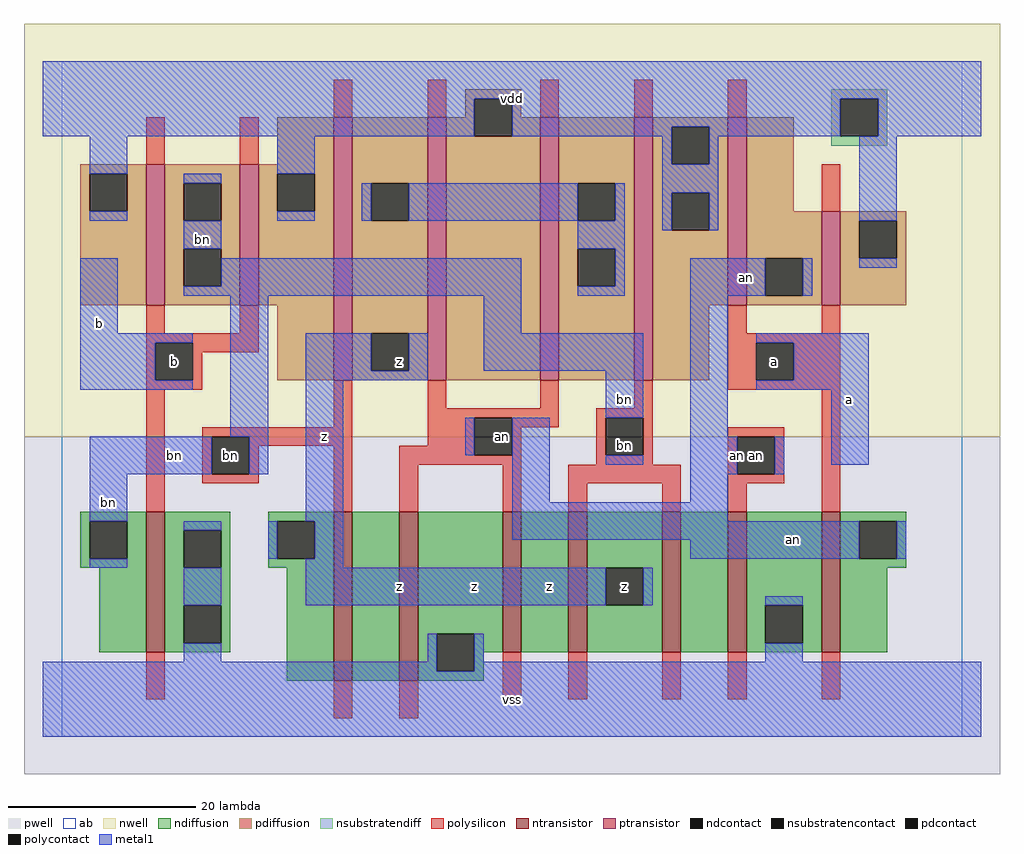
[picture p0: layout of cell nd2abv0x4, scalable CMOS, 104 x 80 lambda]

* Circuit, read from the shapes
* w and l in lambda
.subckt nd2abv0x4 a an b bn vdd vss z
M1 vss b bn VSUBS nfet w=15 l=2
M2 n1 bn z VSUBS nfet w=18 l=2
M3 vss an n1 VSUBS nfet w=18 l=2
M4 n2 an vss VSUBS nfet w=15 l=2
M5 z bn n2 VSUBS nfet w=15 l=2
M6 n3 bn z VSUBS nfet w=15 l=2
M7 vss an n3 VSUBS nfet w=15 l=2
M8 an a vss VSUBS nfet w=15 l=2
M9 bn b vdd vdd pfet w=15 l=2 m=2
M10 z bn vdd vdd pfet w=28 l=2 m=2
M11 vdd an z vdd pfet w=28 l=2 m=2
M12 an a vdd vdd pfet w=20 l=2
M13 vdd a an vdd pfet w=10 l=2
.ends

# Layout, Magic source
magic
tech scmos
<< ab >>
rect 0 0 96 72
<< pwell >>
rect -4 -4 100 32
<< nwell >>
rect -4 32 100 76
<< polysilicon >>
rect 29 66 31 70
rect 39 66 41 70
rect 9 61 11 66
rect 19 61 21 66
rect 9 43 11 46
rect 19 43 21 46
rect 9 42 21 43
rect 9 38 10 42
rect 14 41 21 42
rect 14 38 15 41
rect 51 66 53 70
rect 61 66 63 70
rect 71 66 73 70
rect 81 56 83 61
rect 71 43 73 46
rect 81 43 83 46
rect 71 42 83 43
rect 71 38 74 42
rect 78 38 83 42
rect 9 37 15 38
rect 9 24 11 37
rect 29 33 31 38
rect 15 32 31 33
rect 15 28 16 32
rect 20 31 31 32
rect 39 35 41 38
rect 51 35 53 38
rect 61 35 63 38
rect 71 37 83 38
rect 39 34 53 35
rect 39 31 44 34
rect 20 28 21 31
rect 15 27 21 28
rect 29 24 31 31
rect 36 30 44 31
rect 48 33 53 34
rect 57 34 63 35
rect 48 30 49 33
rect 36 29 49 30
rect 57 30 58 34
rect 62 30 63 34
rect 57 29 63 30
rect 71 32 77 33
rect 36 24 38 29
rect 47 24 49 29
rect 54 27 66 29
rect 54 24 56 27
rect 64 24 66 27
rect 71 28 72 32
rect 76 28 77 32
rect 71 27 77 28
rect 71 24 73 27
rect 81 24 83 37
rect 9 4 11 9
rect 29 2 31 6
rect 36 2 38 6
rect 47 4 49 9
rect 54 4 56 9
rect 64 4 66 9
rect 71 4 73 9
rect 81 4 83 9
<< ndiffusion >>
rect 2 23 9 24
rect 2 19 3 23
rect 7 19 9 23
rect 2 18 9 19
rect 4 9 9 18
rect 11 22 18 24
rect 11 18 13 22
rect 17 18 18 22
rect 22 23 29 24
rect 22 19 23 23
rect 27 19 29 23
rect 22 18 29 19
rect 11 14 18 18
rect 11 10 13 14
rect 17 10 18 14
rect 11 9 18 10
rect 24 6 29 18
rect 31 6 36 24
rect 38 11 47 24
rect 38 7 40 11
rect 44 9 47 11
rect 49 9 54 24
rect 56 18 64 24
rect 56 14 58 18
rect 62 14 64 18
rect 56 9 64 14
rect 66 9 71 24
rect 73 14 81 24
rect 73 10 75 14
rect 79 10 81 14
rect 73 9 81 10
rect 83 23 90 24
rect 83 19 85 23
rect 89 19 90 23
rect 83 18 90 19
rect 83 9 88 18
rect 44 7 45 9
rect 38 6 45 7
<< pdiffusion >>
rect 43 68 49 69
rect 43 66 44 68
rect 23 61 29 66
rect 2 60 9 61
rect 2 56 3 60
rect 7 56 9 60
rect 2 46 9 56
rect 11 59 19 61
rect 11 55 13 59
rect 17 55 19 59
rect 11 52 19 55
rect 11 48 13 52
rect 17 48 19 52
rect 11 46 19 48
rect 21 60 29 61
rect 21 56 23 60
rect 27 56 29 60
rect 21 46 29 56
rect 23 38 29 46
rect 31 59 39 66
rect 31 55 33 59
rect 37 55 39 59
rect 31 43 39 55
rect 31 39 33 43
rect 37 39 39 43
rect 31 38 39 39
rect 41 64 44 66
rect 48 66 49 68
rect 48 64 51 66
rect 41 38 51 64
rect 53 59 61 66
rect 53 55 55 59
rect 59 55 61 59
rect 53 52 61 55
rect 53 48 55 52
rect 59 48 61 52
rect 53 38 61 48
rect 63 65 71 66
rect 63 61 65 65
rect 69 61 71 65
rect 63 58 71 61
rect 63 54 65 58
rect 69 54 71 58
rect 63 46 71 54
rect 73 56 78 66
rect 73 51 81 56
rect 73 47 75 51
rect 79 47 81 51
rect 73 46 81 47
rect 83 55 90 56
rect 83 51 85 55
rect 89 51 90 55
rect 83 46 90 51
rect 63 38 69 46
<< metal1 >>
rect -2 68 98 72
rect -2 64 44 68
rect 48 65 83 68
rect 48 64 65 65
rect 3 60 7 64
rect 23 60 27 64
rect 3 55 7 56
rect 13 59 17 60
rect 64 61 65 64
rect 69 64 83 65
rect 87 64 98 68
rect 69 61 70 64
rect 23 55 27 56
rect 32 55 33 59
rect 37 55 55 59
rect 59 55 60 59
rect 13 52 17 55
rect 2 43 6 51
rect 55 52 60 55
rect 64 58 70 61
rect 64 54 65 58
rect 69 54 70 58
rect 85 55 89 64
rect 17 48 49 51
rect 13 47 49 48
rect 59 48 60 52
rect 55 47 60 48
rect 67 47 75 51
rect 79 47 80 51
rect 85 50 89 51
rect 2 42 14 43
rect 2 38 10 42
rect 2 37 14 38
rect 18 32 22 47
rect 45 43 49 47
rect 3 28 16 32
rect 20 28 22 32
rect 26 39 33 43
rect 37 39 39 43
rect 45 39 62 43
rect 26 38 39 39
rect 3 23 7 28
rect 26 23 30 38
rect 58 34 62 39
rect 43 30 44 34
rect 3 18 7 19
rect 13 22 17 23
rect 22 19 23 23
rect 27 19 30 23
rect 48 25 52 34
rect 58 29 62 30
rect 67 32 71 47
rect 74 42 86 43
rect 78 38 86 42
rect 74 37 86 38
rect 67 28 72 32
rect 76 28 77 32
rect 82 29 86 37
rect 67 25 71 28
rect 48 23 71 25
rect 48 21 85 23
rect 67 19 85 21
rect 89 19 90 23
rect 13 14 17 18
rect 26 18 30 19
rect 26 14 58 18
rect 62 14 63 18
rect 75 14 79 15
rect 13 8 17 10
rect 39 8 40 11
rect -2 7 40 8
rect 44 8 45 11
rect 75 8 79 10
rect 44 7 98 8
rect -2 0 98 7
<< ntransistor >>
rect 9 9 11 24
rect 29 6 31 24
rect 36 6 38 24
rect 47 9 49 24
rect 54 9 56 24
rect 64 9 66 24
rect 71 9 73 24
rect 81 9 83 24
<< ptransistor >>
rect 9 46 11 61
rect 19 46 21 61
rect 29 38 31 66
rect 39 38 41 66
rect 51 38 53 66
rect 61 38 63 66
rect 71 46 73 66
rect 81 46 83 56
<< polycontact >>
rect 10 38 14 42
rect 74 38 78 42
rect 16 28 20 32
rect 44 30 48 34
rect 58 30 62 34
rect 72 28 76 32
<< ndcontact >>
rect 3 19 7 23
rect 13 18 17 22
rect 23 19 27 23
rect 13 10 17 14
rect 40 7 44 11
rect 58 14 62 18
rect 75 10 79 14
rect 85 19 89 23
<< pdcontact >>
rect 3 56 7 60
rect 13 55 17 59
rect 13 48 17 52
rect 23 56 27 60
rect 33 55 37 59
rect 33 39 37 43
rect 44 64 48 68
rect 55 55 59 59
rect 55 48 59 52
rect 65 61 69 65
rect 65 54 69 58
rect 75 47 79 51
rect 85 51 89 55
<< nsubstratencontact >>
rect 83 64 87 68
<< nsubstratendiff >>
rect 82 68 88 69
rect 82 64 83 68
rect 87 64 88 68
rect 82 63 88 64
<< labels >>
rlabel polycontact 18 30 18 30 6 bn
rlabel polycontact 60 31 60 31 6 bn
rlabel polycontact 74 30 74 30 6 an
rlabel metal1 5 25 5 25 6 bn
rlabel polycontact 12 40 12 40 6 b
rlabel metal1 4 44 4 44 6 b
rlabel metal1 15 53 15 53 6 bn
rlabel metal1 28 32 28 32 6 z
rlabel metal1 12 30 12 30 6 bn
rlabel metal1 48 4 48 4 6 vss
rlabel metal1 44 16 44 16 6 z
rlabel metal1 52 16 52 16 6 z
rlabel metal1 36 16 36 16 6 z
rlabel polycontact 47 32 47 32 6 an
rlabel pdcontact 36 40 36 40 6 z
rlabel metal1 48 68 48 68 6 vdd
rlabel ndcontact 60 16 60 16 6 z
rlabel metal1 72 30 72 30 6 an
rlabel polycontact 76 40 76 40 6 a
rlabel metal1 60 36 60 36 6 bn
rlabel metal1 78 21 78 21 6 an
rlabel metal1 84 36 84 36 6 a
rlabel metal1 73 49 73 49 6 an
<< end >>
